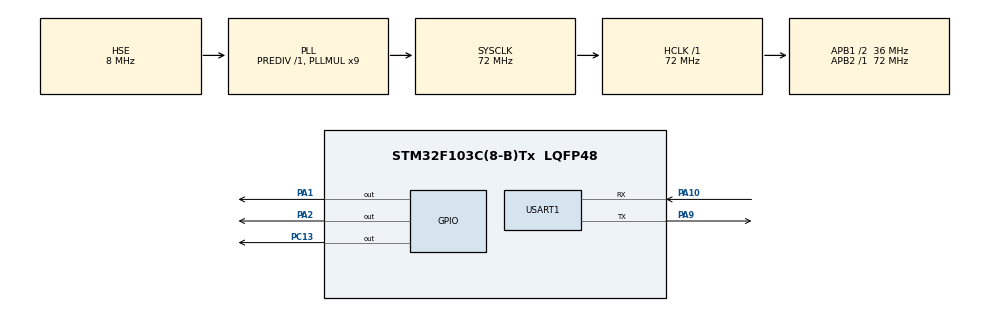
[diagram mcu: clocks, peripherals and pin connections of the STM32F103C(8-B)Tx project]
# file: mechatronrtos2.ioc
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FREERTOS.Tasks01=defaultTask,0,128,StartDefaultTask,Default,NULL,Dynamic,NULL,NULL
FREERTOS.configUSE_PREEMPTION=1
Mcu.Family=STM32F1
Mcu.Name=STM32F103C(8-B)Tx
Mcu.Package=LQFP48
NVIC.PriorityGroup=NVIC_PRIORITYGROUP_4
NVIC.TIM1_UP_IRQn=true\:15\:0\:false\:false\:true\:false\:false\:true
NVIC.TimeBase=TIM1_UP_IRQn
NVIC.TimeBaseIP=TIM1
NVIC.USART1_IRQn=true\:6\:0\:true\:false\:true\:true\:true\:true
PA1.Signal=GPIO_Output
PA10.Mode=Asynchronous
PA10.Signal=USART1_RX
PA13.Mode=Serial_Wire
PA13.Signal=SYS_JTMS-SWDIO
PA14.Mode=Serial_Wire
PA14.Signal=SYS_JTCK-SWCLK
PA2.Signal=GPIO_Output
PA9.Mode=Asynchronous
PA9.Signal=USART1_TX
PC13-TAMPER-RTC.Signal=GPIO_Output
PD0-OSC_IN.Mode=HSE-External-Oscillator
PD0-OSC_IN.Signal=RCC_OSC_IN
PD1-OSC_OUT.Mode=HSE-External-Oscillator
PD1-OSC_OUT.Signal=RCC_OSC_OUT
ProjectManager.HeapSize=0x200
ProjectManager.StackSize=0x400
ProjectManager.TargetToolchain=STM32CubeIDE
RCC.AHBFreq_Value=72000000
RCC.APB1CLKDivider=RCC_HCLK_DIV2
RCC.APB1Freq_Value=36000000
RCC.APB1TimFreq_Value=72000000
RCC.APB2Freq_Value=72000000
RCC.APB2TimFreq_Value=72000000
RCC.HCLKFreq_Value=72000000
RCC.PLLMUL=RCC_PLL_MUL9
RCC.PLLSourceVirtual=RCC_PLLSOURCE_HSE
RCC.SYSCLKFreq_VALUE=72000000
RCC.SYSCLKSource=RCC_SYSCLKSOURCE_PLLCLK
RCC.USBFreq_Value=72000000
USART1.VirtualMode=VM_ASYNC
VP_FREERTOS_VS_CMSIS_V1.Mode=CMSIS_V1
VP_SYS_VS_tim1.Mode=TIM1
board=custom

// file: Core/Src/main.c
/* USER CODE BEGIN Header */
/**
  ******************************************************************************
  * @file           : main.c
  * @brief          : Main program body
  ******************************************************************************
  * @attention
  *
  * <h2><center>&copy; Copyright (c) 2022 STMicroelectronics.
  * All rights reserved.</center></h2>
  *
  * This software component is licensed by ST under BSD 3-Clause license,
  * the "License"; You may not use this file except in compliance with the
  * License. You may obtain a copy of the License at:
  *                        opensource.org/licenses/BSD-3-Clause
  *
  ******************************************************************************
  */
/* USER CODE END Header */
#include "main.h"
#include "cmsis_os.h"

/* USER CODE BEGIN Includes */
#include "FreeRTOS.h"
#include "task.h"
#include "semphr.h"
#include "timers.h"
#include "event_groups.h"
#include "queue.h"

#include <stdio.h>
#include <string.h>
#include <stdlib.h>

/* USER CODE END Includes */

UART_HandleTypeDef huart1;

osThreadId defaultTaskHandle;

void SystemClock_Config(void);
static void MX_GPIO_Init(void);
static void MX_USART1_UART_Init(void);

/* USER CODE BEGIN PFP */
void Task1(void * argument);
void Task2(void * argument);
/* USER CODE END PFP */

/* USER CODE BEGIN 0 */
SemaphoreHandle_t deneme;

char rxTembuf[10];
char rxBuf[30],kopya[30];
uint8_t rxIndex=0;

char esas[]="start"; // suppose receive data for testing

char dur[5]="stop";
char basla[6]="start";
char ledyak[6]="ledon";
char ledson[7]="ledoff";
uint8_t sayac=0,muteks=0;
int zaman=500,sayi=0;
uint32_t zaman1[]={1000,300,700}; // {1 second,  ledon time,  ledoff time}

void HAL_UART_RxCpltCallback(UART_HandleTypeDef *huart)
{
	//huart1->RxState=HAL_UART_STATE_READY;

	//if(huart->Instance == USART1){

	if(huart == &huart1){

		rxBuf[rxIndex]=rxTembuf[0];
	  	rxIndex++;
	  	if(rxTembuf[0]==10){ // if press enter buton (asci table number=10=enter)
			sayi=rxIndex;
			strcpy(kopya,rxBuf); // enter tuşuna basılmadan yeni string için array oluşmayacak
	  	    char *p;
	  	    p = strtok(kopya, "="); // control for having =
	  	    if(p)
	  	    {
	  	    	printf("%s\n", p);
	  	        if(strcmp(dur,p)==0){ //during stop
	  	        	sayac=1;
	  	            printf("dura girdi: sayac= %i\n",sayac);
	  	        }
	  	        else if(strcmp(basla,p)==0){ //during start
					sayac=0;
					printf("baslaya girdi: sayac= %i\n",sayac);
	  	        }
	  	        else if(strcmp(ledyak,p)==0){ //during ledon=

					p = strtok(NULL, "="); //control for after =
					zaman1[1]=atoi(p);
					printf("ledona girdi: %s\n", p);

                }
                else if(strcmp(ledson,p)==0){ //during ledoff=
					p = strtok(NULL, "="); //control for after =
					printf("ledoffa girdi: %s\n", p);
					zaman1[2]=atoi(p);

                }
	  	    }

	  		rxIndex=0;
	  		for(int k=0;k<30;k++){rxBuf[k]='\0';} //clear to received string array
	  	}
	  	//CLEAR_BIT(huart1.Instance->CR1,USART_CR1_RXNEIE);

	  	HAL_UART_Receive_IT(&huart1, rxTembuf, 1); // set again interrupt
	}

}

/* USER CODE END 0 */

int main(void)
{

  /* MCU Configuration--------------------------------------------------------*/

  /* Reset of all peripherals, Initializes the Flash interface and the Systick. */
  HAL_Init();

  /* Configure the system clock */
  SystemClock_Config();

  /* Initialize all configured peripherals */
  MX_GPIO_Init();
  MX_USART1_UART_Init();

  /* Create the thread(s) */
  /* definition and creation of defaultTask */

  /* Start scheduler */

  /* We should never get here as control is now taken by the scheduler */
  /* Infinite loop */
  /* USER CODE BEGIN WHILE */

 // deneme = xSemaphoreCreateCounting(1,1);
  deneme = xSemaphoreCreateBinary(); //create binary semaphore
//  HAL_StatusTypeDef status;

 xTaskCreate(Task1,                // Task function
                          "Task 1",            // Task name
						  configMINIMAL_STACK_SIZE,                    // Stack depth
                          NULL,                    // Task parameter
                          0,                        // Priority
                          NULL);                // Task handle

  xTaskCreate(Task2,"Task 2",100,NULL,0,NULL);

 vTaskStartScheduler(); // start rtos scheduler
 xSemaphoreGive(deneme); // we have 1 semophere

  HAL_UART_Receive_IT(&huart1, rxTembuf, 1); // set interrupt for uart 8n1 receive

  while (1)
  {
    /* USER CODE END WHILE */

  }
}

void SystemClock_Config(void)
{
  RCC_OscInitTypeDef RCC_OscInitStruct = {0};
  RCC_ClkInitTypeDef RCC_ClkInitStruct = {0};

  /** Initializes the RCC Oscillators according to the specified parameters
  * in the RCC_OscInitTypeDef structure.
  */
  RCC_OscInitStruct.OscillatorType = RCC_OSCILLATORTYPE_HSE;
  RCC_OscInitStruct.HSEState = RCC_HSE_ON;
  RCC_OscInitStruct.HSEPredivValue = RCC_HSE_PREDIV_DIV1;
  RCC_OscInitStruct.HSIState = RCC_HSI_ON;
  RCC_OscInitStruct.PLL.PLLState = RCC_PLL_ON;
  RCC_OscInitStruct.PLL.PLLSource = RCC_PLLSOURCE_HSE;
  RCC_OscInitStruct.PLL.PLLMUL = RCC_PLL_MUL9;
  if (HAL_RCC_OscConfig(&RCC_OscInitStruct) != HAL_OK)
  {
    Error_Handler();
  }
  /** Initializes the CPU, AHB and APB buses clocks
  */
  RCC_ClkInitStruct.ClockType = RCC_CLOCKTYPE_HCLK|RCC_CLOCKTYPE_SYSCLK
                              |RCC_CLOCKTYPE_PCLK1|RCC_CLOCKTYPE_PCLK2;
  RCC_ClkInitStruct.SYSCLKSource = RCC_SYSCLKSOURCE_PLLCLK;
  RCC_ClkInitStruct.AHBCLKDivider = RCC_SYSCLK_DIV1;
  RCC_ClkInitStruct.APB1CLKDivider = RCC_HCLK_DIV2;
  RCC_ClkInitStruct.APB2CLKDivider = RCC_HCLK_DIV1;

  if (HAL_RCC_ClockConfig(&RCC_ClkInitStruct, FLASH_LATENCY_2) != HAL_OK)
  {
    Error_Handler();
  }
}

static void MX_USART1_UART_Init(void)
{

  huart1.Instance = USART1;
  huart1.Init.BaudRate = 115200;
  huart1.Init.WordLength = UART_WORDLENGTH_8B;
  huart1.Init.StopBits = UART_STOPBITS_1;
  huart1.Init.Parity = UART_PARITY_NONE;
  huart1.Init.Mode = UART_MODE_TX_RX;
  huart1.Init.HwFlowCtl = UART_HWCONTROL_NONE;
  huart1.Init.OverSampling = UART_OVERSAMPLING_16;
  if (HAL_UART_Init(&huart1) != HAL_OK)
  {
    Error_Handler();
  }

}

static void MX_GPIO_Init(void)
{
  GPIO_InitTypeDef GPIO_InitStruct = {0};

  /* GPIO Ports Clock Enable */
  __HAL_RCC_GPIOC_CLK_ENABLE();
  __HAL_RCC_GPIOD_CLK_ENABLE();
  __HAL_RCC_GPIOA_CLK_ENABLE();

  /*Configure GPIO pin Output Level */
  HAL_GPIO_WritePin(GPIOC, GPIO_PIN_13, GPIO_PIN_RESET);

  /*Configure GPIO pin Output Level */
  HAL_GPIO_WritePin(GPIOA, GPIO_PIN_1|GPIO_PIN_2, GPIO_PIN_RESET);

  /*Configure GPIO pin : PC13 */
  GPIO_InitStruct.Pin = GPIO_PIN_13;
  GPIO_InitStruct.Mode = GPIO_MODE_OUTPUT_PP;
  GPIO_InitStruct.Pull = GPIO_NOPULL;
  GPIO_InitStruct.Speed = GPIO_SPEED_FREQ_LOW;
  HAL_GPIO_Init(GPIOC, &GPIO_InitStruct);

  /*Configure GPIO pins : PA1 PA2 */
  GPIO_InitStruct.Pin = GPIO_PIN_1|GPIO_PIN_2;
  GPIO_InitStruct.Mode = GPIO_MODE_OUTPUT_PP;
  GPIO_InitStruct.Pull = GPIO_NOPULL;
  GPIO_InitStruct.Speed = GPIO_SPEED_FREQ_LOW;
  HAL_GPIO_Init(GPIOA, &GPIO_InitStruct);

}

/* USER CODE BEGIN 4 */
void Task1(void * argument)
{

  for(;;)
  {

		  xSemaphoreTake(deneme, portMAX_DELAY); //

		  if(sayac==1){ //during stop
			  zaman=zaman1[0]; //1 second toggle pin
			  HAL_UART_Transmit(&huart1, "led1saniye\n\r", 15, 100);
			  HAL_GPIO_TogglePin(GPIOC, GPIO_PIN_13);
		  }
		  else{ //during start
			  if(muteks){ // led on off switch for time
				  muteks=0; //switch  for on
				  zaman=zaman1[1];
				  HAL_UART_Transmit(&huart1, "ledon300\n\r", 15, 100);
				  HAL_GPIO_WritePin(GPIOC, GPIO_PIN_13, GPIO_PIN_SET);

			  }else{
				  muteks=1; //switch for offf
				  zaman=zaman1[2];
				  HAL_UART_Transmit(&huart1, "ledoff700\n\r", 15, 100);
				  HAL_GPIO_WritePin(GPIOC, GPIO_PIN_13, GPIO_PIN_RESET);
			  }

		  }

		  //
		  //taskYIELD();
		  xSemaphoreGive(deneme);
		  vTaskDelay(zaman);

  }

}
void Task2(void * argument)
{

  for(;;)
  {
	  if(sayac==0){ // start stop control
		  xSemaphoreTake(deneme, portMAX_DELAY);
		  HAL_UART_Transmit(&huart1, kopya, sizeof(sayi), 100);
		  xSemaphoreGive(deneme);
		  //taskYIELD();

		  vTaskDelay(100);
	  }

  }

}
/* USER CODE END 4 */

//void StartDefaultTask(void const * argument)
//{
//  /* USER CODE BEGIN 5 */
//  /* Infinite loop */
//  for(;;)
//  {
//    osDelay(1);
//  }
//  /* USER CODE END 5 */
//}

void HAL_TIM_PeriodElapsedCallback(TIM_HandleTypeDef *htim)
{
  if (htim->Instance == TIM1) {
    HAL_IncTick();
  }
}

void Error_Handler(void)
{
  __disable_irq();
  while (1)
  {
  }
}

/************************ (C) COPYRIGHT STMicroelectronics *****END OF FILE****/
